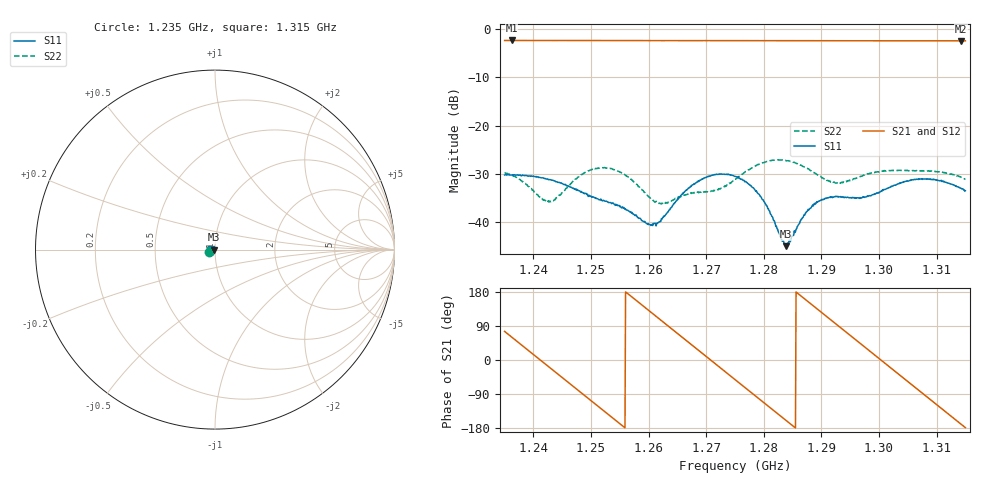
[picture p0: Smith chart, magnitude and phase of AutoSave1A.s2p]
!Agilent N9923A: A.07.32
!Date: Thursday, 03 December 2015 01:49:40
!Model: N9923A
!Serial: MY52412257
!GPS Latitude:
!GPS Longitude:
!GPS TimeStamp: 0001-01-01 00:00:00Z
!GPS Seconds Since Last Read: 0
!CHECKSUM:0546805580
!Correction: S11(ON U)S21(ON U)S12(ON U)S22(ON U)
!S2P File: Measurements:S11,S21,S12,S22:
# Hz S DB R 50
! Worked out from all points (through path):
!   801 points, 1.235 GHz to 1.315 GHz, reference 50 ohm
!   highest |S21| = -2.41 dB at 1.236 GHz (marker M1); lowest = -2.5 dB at 1.314 GHz (marker M2)
!   group delay of S21, straight-line fit = 33.8 ns
!   lowest |S11| = -44.9 dB at 1.284 GHz (marker M3), VSWR 1.01, Z = 49.4 + j0.00028 ohm
!   |S11| at or under -10 dB: start of sweep to end of sweep
!   |S22| runs from -36.2 to -27.0 dB; largest |S21 - S12| = 0.00099
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1.235e9  -30.20 -170.0  -2.41 75.4  -2.41 75.4  -29.72 -160.8
1.2362e9  -30.21 -172.7  -2.41 60.8  -2.41 60.8  -30.25 -165.4
1.242e9  -30.98 171.5  -2.41 -9.8  -2.42 -9.8  -35.44 -157.2
1.2484e9  -33.77 159.2  -2.42 -87.7  -2.42 -87.7  -30.11 -133.6
1.2515e9  -35.33 160.2  -2.43 -125.5  -2.43 -125.4  -28.80 -150.4
1.2553e9  -37.00 162.2  -2.43 -171.7  -2.43 -171.7  -29.76 -171.0
1.2583e9  -39.18 167.8  -2.43 151.7  -2.43 151.8  -32.61 -179.8
1.2617e9  -40.02 -160.6  -2.44 110.3  -2.44 110.4  -36.01 -162.9
1.2652e9  -34.92 -143.7  -2.44 67.7  -2.44 67.7  -34.68 -142.9
1.2691e9  -31.21 -157.5  -2.44 20.2  -2.44 20.2  -33.75 -139.3
1.272e9  -30.08 -174.1  -2.44 -15.1  -2.45 -15.0  -33.20 -132.1
1.275e9  -30.50 166.3  -2.44 -51.6  -2.45 -51.6  -31.05 -124.4
1.2793e9  -34.40 142.1  -2.45 -103.9  -2.45 -103.9  -27.92 -133.9
1.2839e9  -44.91 180.0  -2.46 -159.9  -2.46 -159.9  -27.29 -156.3
1.2884e9  -36.57 -141.3  -2.46 145.3  -2.46 145.3  -29.45 -171.0
1.2915e9  -34.76 -149.2  -2.46 107.5  -2.46 107.6  -31.45 -165.5
1.2944e9  -34.85 -153.8  -2.47 72.2  -2.47 72.2  -31.60 -154.1
1.2983e9  -34.53 -148.1  -2.47 24.7  -2.47 24.8  -29.94 -151.9
1.3017e9  -32.87 -147.2  -2.47 -16.7  -2.48 -16.6  -29.30 -157.1
1.3079e9  -31.06 -167.6  -2.48 -92.1  -2.48 -92.1  -29.38 -166.5
1.3142e9  -32.94 172.3  -2.49 -168.8  -2.48 -168.8  -30.59 -179.0
1.315e9  -33.47 171.2  -2.49 -178.6  -2.48 -178.6  -31.06 -179.8
